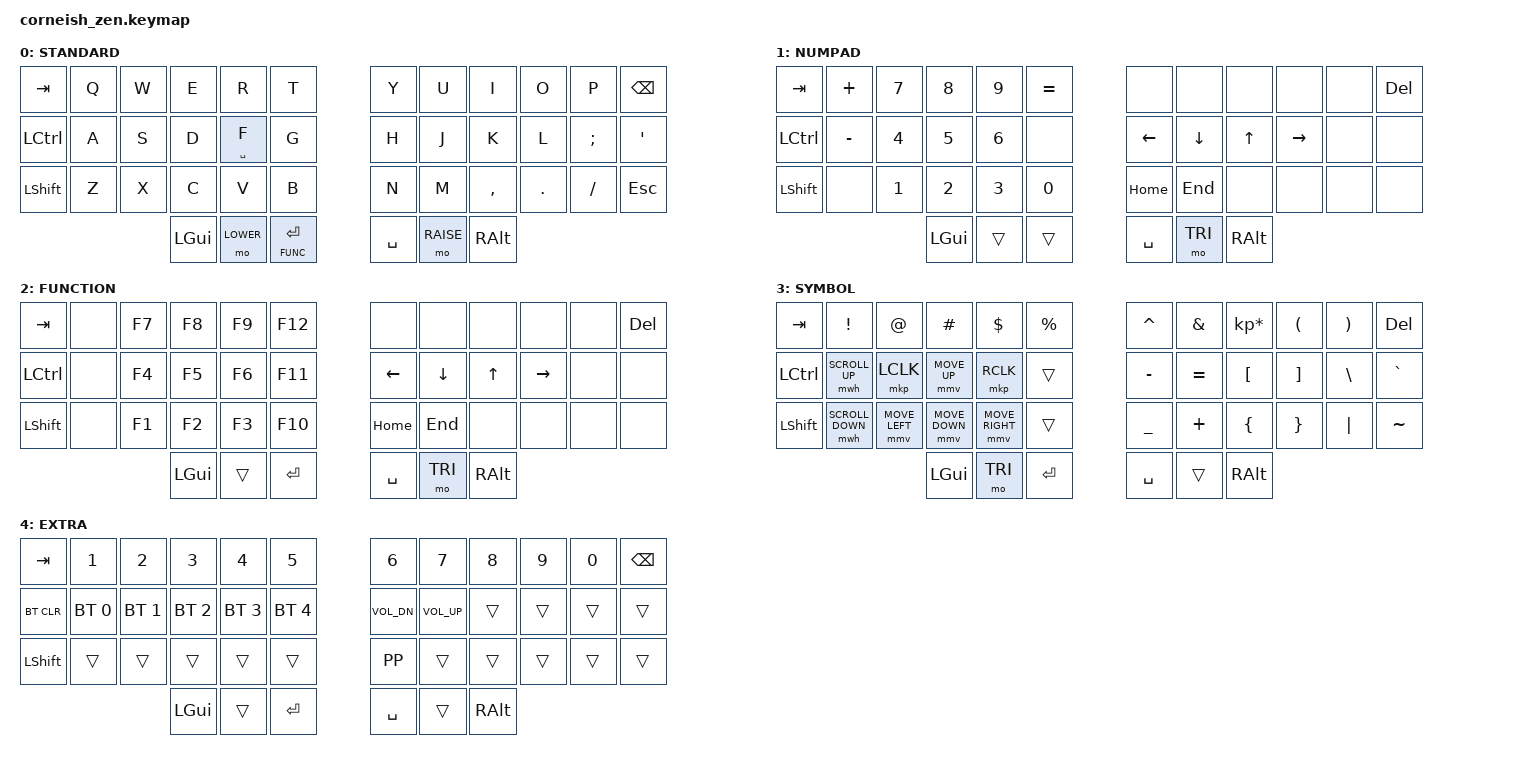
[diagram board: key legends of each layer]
#include <behaviors.dtsi>
#include <dt-bindings/zmk/keys.h>
#include <dt-bindings/zmk/bt.h>
#include <dt-bindings/zmk/mouse.h>

/ {
  chosen {
    zmk,matrix_transform = &default_transform;
    //zmk,matrix_transform = &five_column_transform;
  };
};

#define DEFAULT 0
#define LOWER   1
#define FUNC    2
#define RAISE   3
#define TRI     4


&mmv {
    acceleration-exponent=<1>;
    time-to-max-speed-ms = <500>;
};


/ {
        keymap {
                compatible = "zmk,keymap";

                default_layer {
                  label = "STANDARD";
// -----------------------------------------------------------------------------------------
// |  TAB |  Q  |  W  |  E  |  R  |  T  |   |  Y  |  U   |  I  |  O  |  P  | BKSP |
// | CTRL |  A  |  S  |  D  |  F  |  G  |   |  H  |  J   |  K  |  L  |  ;  |  '   |
// | SHFT |  Z  |  X  |  C  |  V  |  B  |   |  N  |  M   |  ,  |  .  |  /  | ESC  |
//                    | GUI | LWR | ENT |   | SPC | RSE  | ALT |
                        bindings = <
   &kp TAB   &kp Q &kp W &kp E &kp R &kp T          &kp Y &kp U  &kp I     &kp O   &kp P    &kp BSPC
   &kp LCTRL &kp A &kp S &kp D &mt SPACE F &kp G          &kp H &kp J  &kp K     &kp L   &kp SEMI &kp SQT
   &kp LSHFT &kp Z &kp X &kp C &kp V &kp B          &kp N &kp M  &kp COMMA &kp DOT &kp FSLH &kp ESC
                  &kp LGUI &mo LOWER &lt FUNC RET   &kp SPACE &mo RAISE &kp RALT
                        >;
                };
                
                lower_layer {
                  label = "NUMPAD";
// -----------------------------------------------------------------------------------------
// |  TAB |  +  | 7  |  8  |  9  |  =  |    |     |     |     |     |     | DEL  |
// | CTRL |  -  | 4  |  5  |  6  |     |    | LFT | DWN |  UP | RGT |     |      |
// | SHFT |     | 1  |  2  |  3  |  0  |    | HME | END |     |     |     |      |
//                   | GUI |     | ENT |     | SPC |     | ALT |
                        bindings = <
   &kp TAB   &kp PLUS   &kp N7 &kp N8 &kp N9 &kp EQUAL   &none      &none     &none   &none     &none &kp DEL
   &kp LCTRL &kp MINUS  &kp N4 &kp N5 &kp N6 &none       &kp LEFT   &kp DOWN  &kp UP  &kp RIGHT &none &none
   &kp LSHFT &none      &kp N1 &kp N2 &kp N3 &kp N0      &kp HOME   &kp END   &none   &none     &none &none
                        &kp LGUI &trans  &trans          &kp SPACE  &mo TRI   &kp RALT
                        >;
                };
                
                func_layer {
                  label = "FUNCTION";
// -----------------------------------------------------------------------------------------
// |  TAB |   |  F7 |  F8  | F9  | F12 |   |     |     |     |     |     | DEL  |
// | CTRL |   |  F4 |  F5  | F6  | F11 |   | LFT | DWN |  UP | RGT |     |      |
// | SHFT |   |  F1 |  F2  | F3  | F10 |   |     | HME | END |     |     |     |      |
//                   | GUI |     | ENT|    | SPC |     | ALT |
                        bindings = <
   &kp TAB   &none &kp F7 &kp F8 &kp F9 &kp F12   &none     &none    &none  &none     &none &kp DEL
   &kp LCTRL &none &kp F4 &kp F5 &kp F6 &kp F11   &kp LEFT  &kp DOWN &kp UP &kp RIGHT &none &none
   &kp LSHFT &none &kp F1 &kp F2 &kp F3 &kp F10   &kp HOME  &kp END  &none  &none     &none &none
                    &kp LGUI &trans &kp RET       &kp SPACE &mo TRI &kp RALT
                        >;
                };
                

                raise_layer {
                  label = "SYMBOL";  
// -----------------------------------------------------------------------------------------
// |  TAB |  !   |  @  |  #  |  $  |  %  |   |  ^  |  &  |  *  |  (  |  )  | DEL |
// | CTRL |SCR_U | M_LC| M_U | M_RC|     |   |  -  |  =  |  [  |  ]  |  \  |  `   |
// | SHFT |SCR-D | M_L | M_D | M_R |     |   |  _  |  +  |  {  |  }  | "|" |  ~   |
//                    | GUI |     | ENT |   | SPC |     | ALT |
                        bindings = <
   &kp  TAB  &kp EXCL &kp AT         &kp HASH       &kp DLLR        &kp PRCNT     &kp CARET &kp AMPS  &kp KP_MULTIPLY &kp LPAR &kp RPAR &kp DEL
   &kp LCTRL &mwh SCROLL_UP   &mkp LCLK      &mmv MOVE_UP   &mkp RCLK       &trans     &kp MINUS &kp EQUAL &kp LBKT        &kp RBKT &kp BSLH &kp GRAVE
   &kp LSHFT &mwh SCROLL_DOWN &mmv MOVE_LEFT &mmv MOVE_DOWN &mmv MOVE_RIGHT &trans     &kp UNDER &kp PLUS  &kp LBRC        &kp RBRC &kp PIPE &kp TILDE
                    	     &kp LGUI &mo TRI    &kp RET                            &kp SPACE &trans    &kp RALT
                        >;
                };

                tri_layer {
                  label = "EXTRA";
// -----------------------------------------------------------------------------------------
// |  TAB |  1  |  2  |  3  |  4  |  5  |   |  6  |  7  |  8  |  9  |  0  | BKSP |
// | BTCLR| BT1 | BT2 | BT3 | BT4 | BT5 |   |VOL_D|VOL_U|     |     |     |      |
// | SHFT |     |     |     |     |     |   |     |     |     |     |     |      |
//                    | GUI |     | ENT |   | SPC |     | ALT |
                        bindings = <
   &kp TAB    &kp N1       &kp N2       &kp N3       &kp N4       &kp N5         &kp N6         &kp N7          &kp N8  &kp N9  &kp N0 &kp BSPC
   &bt BT_CLR &bt BT_SEL 0 &bt BT_SEL 1 &bt BT_SEL 2 &bt BT_SEL 3 &bt BT_SEL 4   &kp K_VOL_DN   &kp K_VOL_UP    &trans  &trans  &trans &trans
   &kp LSHFT  &trans       &trans       &trans       &trans       &trans         &kp K_PP       &trans          &trans  &trans  &trans &trans
                          	        &kp LGUI     &trans       &kp RET        &kp SPACE      &trans         &kp RALT
                        >;
                };
                         

        };
};
